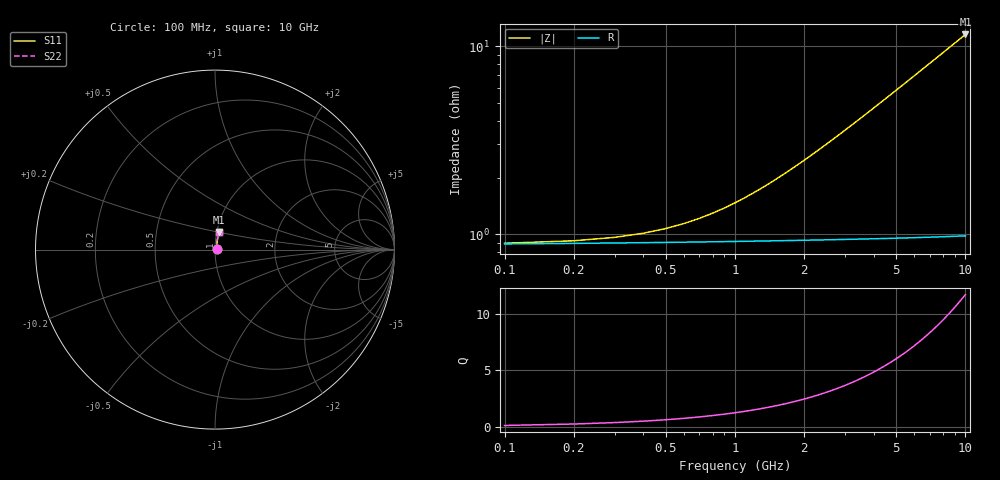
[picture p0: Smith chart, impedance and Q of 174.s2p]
# Hz S RI R 50.00
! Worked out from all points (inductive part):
!   100 points, 100 MHz to 10 GHz, reference 50 ohm
!   read as one part in series: L = 183 pH near 2.5 GHz
!   highest Q = 11.7 at 10 GHz (marker M1), where L = 183 pH
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1e8  0.0088 0.000995  0.9912 -0.00126  0.9912 -0.00126  0.0088 0.000995
2e8  0.00886 0.00199  0.9911 -0.00252  0.9911 -0.00252  0.00886 0.00199
3e8  0.00891 0.00298  0.9911 -0.00378  0.9911 -0.00378  0.00891 0.00298
4e8  0.00895 0.00398  0.991 -0.00504  0.991 -0.00504  0.00895 0.00398
5e8  0.00899 0.00497  0.991 -0.00631  0.991 -0.00631  0.00899 0.00497
1.3e9  0.00933 0.0129  0.9907 -0.0164  0.9907 -0.0164  0.00933 0.0129
1.5e9  0.00943 0.0149  0.9906 -0.0189  0.9906 -0.0189  0.00943 0.0149
1.8e9  0.00959 0.0179  0.9904 -0.0227  0.9904 -0.0227  0.00959 0.0179
2.1e9  0.00977 0.0209  0.9902 -0.0265  0.9902 -0.0265  0.00977 0.0209
2.5e9  0.01 0.0248  0.9899 -0.0315  0.9899 -0.0315  0.01 0.0248
2.9e9  0.0103 0.0288  0.9896 -0.0365  0.9896 -0.0365  0.0103 0.0288
3.4e9  0.0108 0.0337  0.9892 -0.0428  0.9892 -0.0428  0.0108 0.0337
3.8e9  0.0112 0.0377  0.9888 -0.0478  0.9888 -0.0478  0.0112 0.0377
4.2e9  0.0116 0.0416  0.9883 -0.0528  0.9883 -0.0528  0.0116 0.0416
4.6e9  0.0121 0.0456  0.9878 -0.0579  0.9878 -0.0579  0.0121 0.0456
5.1e9  0.0127 0.0505  0.9872 -0.0641  0.9872 -0.0641  0.0127 0.0505
5.9e9  0.0139 0.0584  0.986 -0.0741  0.986 -0.0741  0.0139 0.0584
6.7e9  0.0152 0.0662  0.9846 -0.0841  0.9846 -0.0841  0.0152 0.0662
7.5e9  0.0167 0.074  0.9831 -0.094  0.9831 -0.094  0.0167 0.074
8.4e9  0.0185 0.0827  0.9812 -0.1051  0.9812 -0.1051  0.0185 0.0827
9.2e9  0.0203 0.0904  0.9794 -0.115  0.9794 -0.115  0.0203 0.0904
1e10  0.0223 0.0981  0.9774 -0.1248  0.9774 -0.1248  0.0223 0.0981
